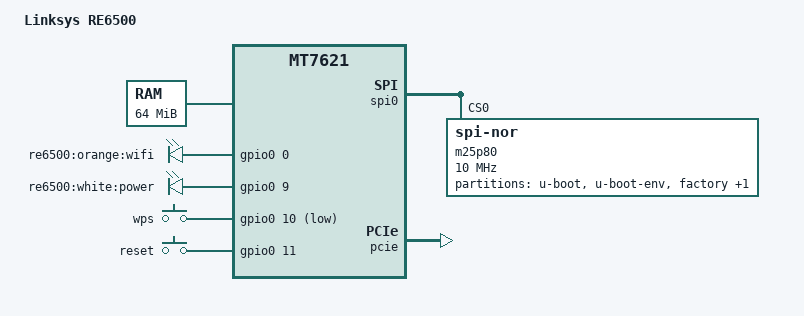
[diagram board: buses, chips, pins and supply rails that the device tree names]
/dts-v1/;

#include "mt7621.dtsi"

/ {
	compatible = "mediatek,mt7621-eval-board", "mediatek,mt7621-soc";
	model = "Linksys RE6500";

	memory@0 {
		device_type = "memory";
		reg = <0x0 0x4000000>;
	};

	chosen {
		bootargs = "console=ttyS0,57600";
	};

	gpio-leds {
		compatible = "gpio-leds";

		wifi {
			label = "re6500:orange:wifi";
			gpios = <&gpio0 0 0>;
		};

		power {
			label = "re6500:white:power";
			gpios = <&gpio0 9 0>;
		};
	};

	gpio-keys-polled {
		compatible = "gpio-keys-polled";
		#address-cells = <1>;
		#size-cells = <0>;
		poll-interval = <20>;

		wps {
			label = "wps";
			gpios = <&gpio0 10 1>;
			linux,code = <0x211>;
		};

		reset {
			label = "reset";
			gpios = <&gpio0 11 0>;
			linux,code = <0x198>;
		};
	};
};

&spi0 {
	status = "okay";

	m25p80@0 {
		#address-cells = <1>;
		#size-cells = <1>;
		compatible = "jedec,spi-nor";
		reg = <0>;
		linux,modalias = "m25p80", "en25q64";
		spi-max-frequency = <10000000>;

		partition@0 {
			label = "u-boot";
			reg = <0x0 0x30000>;
			read-only;
		};

		partition@30000 {
			label = "u-boot-env";
			reg = <0x30000 0x10000>;
			read-only;
		};

		factory: partition@40000 {
			label = "factory";
			reg = <0x40000 0x10000>;
			read-only;
		};

		partition@50000 {
			label = "firmware";
			reg = <0x50000 0x7b0000>;
		};
	};
};

&pinctrl {
	state_default: pinctrl0 {
		gpio {
			ralink,group = "i2c", "uart2", "uart3", "rgmii2";
			ralink,function = "gpio";
		};
	};
};

&pcie {
	status = "okay";

	pcie0 {
		mt76@0,0 {
			reg = <0x0000 0 0 0 0>;
			device_type = "pci";
			mediatek,mtd-eeprom = <&factory 0x0000>;
			mediatek,2ghz = <0>;
		};
	};

	pcie1 {
		mt76@1,0 {
			reg = <0x0000 0 0 0 0>;
			device_type = "pci";
			mediatek,mtd-eeprom = <&factory 0x8000>;
			mediatek,5ghz = <0>;
		};
	};
};

&ethernet {
	mtd-mac-address = <&factory 0x2e>;
};
